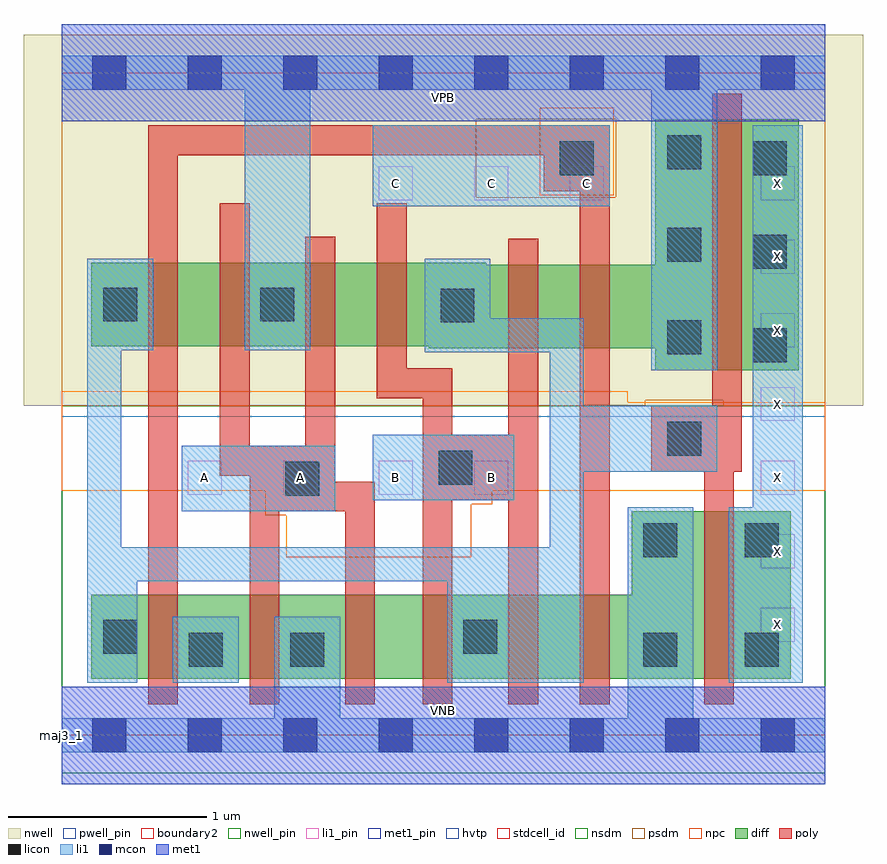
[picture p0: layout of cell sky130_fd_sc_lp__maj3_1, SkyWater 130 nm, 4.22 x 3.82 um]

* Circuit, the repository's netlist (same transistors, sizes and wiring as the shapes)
* Copyright 2020 The SkyWater PDK Authors
*
* Licensed under the Apache License, Version 2.0 (the "License");
* you may not use this file except in compliance with the License.
* You may obtain a copy of the License at
*
*     https://www.apache.org/licenses/LICENSE-2.0
*
* Unless required by applicable law or agreed to in writing, software
* distributed under the License is distributed on an "AS IS" BASIS,
* WITHOUT WARRANTIES OR CONDITIONS OF ANY KIND, either express or implied.
* See the License for the specific language governing permissions and
* limitations under the License.
*
* SPDX-License-Identifier: Apache-2.0

.SUBCKT sky130_fd_sc_lp__maj3_1 A B C VGND VNB VPB VPWR X
*.PININFO A:I B:I C:I VGND:I VNB:I VPB:I VPWR:I X:O
MMIN2 X y VGND VNB sky130_fd_pr__nfet_01v8 m=1 w=0.84U l=0.15U mult=1 sa=0.265
+ sb=0.265 sd=0.28 area=0.063 perim=1.14
MMN10 y B sndNBa VNB sky130_fd_pr__nfet_01v8 m=1 w=0.42U l=0.15U mult=1 sa=0.265
+ sb=0.265 sd=0.28 area=0.063 perim=1.14
MMN11 sndNBa A VGND VNB sky130_fd_pr__nfet_01v8 m=1 w=0.42U l=0.15U mult=1 sa=0.265
+ sb=0.265 sd=0.28 area=0.063 perim=1.14
MMN20 y B sndNBc VNB sky130_fd_pr__nfet_01v8 m=1 w=0.42U l=0.15U mult=1 sa=0.265
+ sb=0.265 sd=0.28 area=0.063 perim=1.14
MMN21 sndNBc C VGND VNB sky130_fd_pr__nfet_01v8 m=1 w=0.42U l=0.15U mult=1 sa=0.265
+ sb=0.265 sd=0.28 area=0.063 perim=1.14
MMN30 y C sndNCa VNB sky130_fd_pr__nfet_01v8 m=1 w=0.42U l=0.15U mult=1 sa=0.265
+ sb=0.265 sd=0.28 area=0.063 perim=1.14
MMN31 sndNCa A VGND VNB sky130_fd_pr__nfet_01v8 m=1 w=0.42U l=0.15U mult=1 sa=0.265
+ sb=0.265 sd=0.28 area=0.063 perim=1.14
MMIP2 X y VPWR VPB sky130_fd_pr__pfet_01v8_hvt m=1 w=1.26U l=0.15U mult=1 sa=0.265
+ sb=0.265 sd=0.28 area=0.063 perim=1.14
MMP10 VPWR A sndPAb VPB sky130_fd_pr__pfet_01v8_hvt m=1 w=0.42U l=0.15U mult=1
+ sa=0.265 sb=0.265 sd=0.28 area=0.063 perim=1.14
MMP11 sndPAb B y VPB sky130_fd_pr__pfet_01v8_hvt m=1 w=0.42U l=0.15U mult=1 sa=0.265
+ sb=0.265 sd=0.28 area=0.063 perim=1.14
MMP20 VPWR C sndPCb VPB sky130_fd_pr__pfet_01v8_hvt m=1 w=0.42U l=0.15U mult=1
+ sa=0.265 sb=0.265 sd=0.28 area=0.063 perim=1.14
MMP21 sndPCb B y VPB sky130_fd_pr__pfet_01v8_hvt m=1 w=0.42U l=0.15U mult=1 sa=0.265
+ sb=0.265 sd=0.28 area=0.063 perim=1.14
MMP30 VPWR A sndPAc VPB sky130_fd_pr__pfet_01v8_hvt m=1 w=0.42U l=0.15U mult=1
+ sa=0.265 sb=0.265 sd=0.28 area=0.063 perim=1.14
MMP31 sndPAc C y VPB sky130_fd_pr__pfet_01v8_hvt m=1 w=0.42U l=0.15U mult=1 sa=0.265
+ sb=0.265 sd=0.28 area=0.063 perim=1.14
.ENDS sky130_fd_sc_lp__maj3_1

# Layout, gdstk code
import gdstk
lib = gdstk.Library(unit=1e-6, precision=1e-09)
def R(c, l, rs):  # rectangles x0, y0, x1, y1
    for r in rs: c.add(gdstk.rectangle(r[:2], r[2:], *l))
def A(c, l, x, y, w, h, nx, ny, dx, dy):  # array of equal rectangles
    R(c, l, [(x+i*dx, y+j*dy, x+i*dx+w, y+j*dy+h) for i in range(nx) for j in range(ny)])
def P(c, l, *ps):  # polygons
    for p in ps: c.add(gdstk.Polygon(p, *l))
nwell_pin = (64, 16)
nwell = (64, 20)
diff = (65, 20)
poly = (66, 20)
licon = (66, 44)
li1_pin = (67, 16)
li1 = (67, 20)
mcon = (67, 44)
met1_pin = (68, 16)
met1 = (68, 20)
hvtp = (78, 44)
stdcell_id = (81, 4)
nsdm = (93, 44)
psdm = (94, 20)
npc = (95, 20)
pwell_pin = (122, 16)
boundary2 = (236, 0)

sky130_fd_sc_lp__maj3_1 = lib.new_cell('sky130_fd_sc_lp__maj3_1')
R(sky130_fd_sc_lp__maj3_1, nwell_pin, [(0,3.085,3.84,3.33)])
R(sky130_fd_sc_lp__maj3_1, nwell, [(-0.19,1.655,4.03,3.52)])
P(sky130_fd_sc_lp__maj3_1, diff, [(3.665,1.125),(2.865,1.125),(2.865,0.705),(0.15,0.705),(0.15,0.285),(3.665,0.285)],
  [(3.705,3.095),(2.985,3.095),(2.985,2.365),(2.135,2.365),(2.135,2.375),(0.15,2.375),(0.15,1.955),(1.845,1.955),(1.845,1.945),(2.985,1.945),(2.985,1.835),(3.705,1.835)])
P(sky130_fd_sc_lp__maj3_1, poly, [(1.575,1.275),(1.375,1.275),(1.375,2.505),(1.225,2.505),(1.225,1.455),(0.945,1.455),(0.945,2.675),(0.795,2.675),(0.795,1.305),(0.945,1.305),(0.945,0.155),(1.095,0.155),(1.095,1.125),(1.425,1.125),(1.425,0.155),(1.575,0.155)],
  [(2.395,2.495),(2.245,2.495),(2.245,1.51),(1.965,1.51),(1.965,1.845),(1.735,1.845),(1.735,2.675),(1.585,2.675),(1.585,1.695),(1.815,1.695),(1.815,0.155),(1.965,0.155),(1.965,1.18),(2.245,1.18),(2.245,0.155),(2.395,0.155)],
  [(2.755,3.065),(0.435,3.065),(0.435,0.155),(0.585,0.155),(0.585,2.915),(2.425,2.915),(2.425,2.735),(2.605,2.735),(2.605,0.155),(2.755,0.155)],
  [(3.42,3.225),(3.27,3.225),(3.27,1.655),(2.965,1.655),(2.965,1.325),(3.23,1.325),(3.23,0.155),(3.38,0.155),(3.38,1.325),(3.42,1.325)])
A(sky130_fd_sc_lp__maj3_1, licon, 3.475, 1.875, 0.17, 0.17, 1, 3, 0, 0.47)
A(sky130_fd_sc_lp__maj3_1, licon, 3.045, 1.915, 0.17, 0.17, 1, 3, 0, 0.465)
R(sky130_fd_sc_lp__maj3_1, licon, [(0.64,0.345,0.81,0.515), (1.15,0.345,1.32,0.515), (2.925,0.345,3.095,0.515), (3.435,0.345,3.605,0.515), (0.21,0.41,0.38,0.58), (2.02,0.41,2.19,0.58), (2.925,0.895,3.095,1.065), (3.435,0.895,3.605,1.065), (1.125,1.205,1.295,1.375), (1.895,1.26,2.065,1.43), (3.045,1.405,3.215,1.575), (1.905,2.075,2.075,2.245), (0.21,2.08,0.38,2.25), (1,2.08,1.17,2.25), (2.505,2.815,2.675,2.985)])
A(sky130_fd_sc_lp__maj3_1, li1_pin, 3.515, 0.47, 0.17, 0.17, 1, 7, 0, 0.37)
A(sky130_fd_sc_lp__maj3_1, li1_pin, 0.635, 1.21, 0.17, 0.17, 4, 1, 0.48, 0)
A(sky130_fd_sc_lp__maj3_1, li1_pin, 1.595, 2.69, 0.17, 0.17, 3, 1, 0.48, 0)
R(sky130_fd_sc_lp__maj3_1, li1, [(0.56,0.265,0.89,0.595), (0.605,1.125,1.375,1.455), (1.565,1.18,2.275,1.51), (1.565,2.66,2.755,3.065)])
P(sky130_fd_sc_lp__maj3_1, li1, [(0.92,1.935),(0.92,3.245),(0,3.245),(0,3.415),(3.84,3.415),(3.84,3.245),(3.295,3.245),(3.295,1.835),(2.965,1.835),(2.965,3.245),(1.25,3.245),(1.25,1.935)],
  [(1.07,0.085),(1.07,0.595),(1.4,0.595),(1.4,0.085),(2.845,0.085),(2.845,1.145),(3.175,1.145),(3.175,0.085),(3.84,0.085),(3.84,-0.085),(0,-0.085),(0,0.085)],
  [(0.3,1.935),(0.3,0.945),(2.455,0.945),(2.455,1.925),(1.825,1.925),(1.825,2.395),(2.155,2.395),(2.155,2.095),(2.625,2.095),(2.625,1.655),(3.295,1.655),(3.295,1.325),(2.625,1.325),(2.625,0.265),(1.94,0.265),(1.94,0.775),(0.38,0.775),(0.38,0.265),(0.13,0.265),(0.13,2.395),(0.46,2.395),(0.46,1.935)],
  [(3.475,1.145),(3.475,3.065),(3.725,3.065),(3.725,0.265),(3.355,0.265),(3.355,1.145)])
A(sky130_fd_sc_lp__maj3_1, mcon, 0.155, -0.085, 0.17, 0.17, 8, 2, 0.48, 3.33)
R(sky130_fd_sc_lp__maj3_1, met1_pin, [(0,0,3.84,0.245), (0,3.085,3.84,3.33)])
R(sky130_fd_sc_lp__maj3_1, met1, [(0,-0.245,3.84,0.245), (0,3.085,3.84,3.575)])
R(sky130_fd_sc_lp__maj3_1, hvtp, [(0,1.6,3.84,3.33)])
R(sky130_fd_sc_lp__maj3_1, stdcell_id, [(0,0,3.84,3.33)])
R(sky130_fd_sc_lp__maj3_1, nsdm, [(0,-0.19,3.84,1.655)])
P(sky130_fd_sc_lp__maj3_1, psdm, [(3.84,3.52),(2.785,3.52),(2.785,2.705),(2.085,2.705),(2.085,3.095),(2.785,3.095),(2.785,3.52),(0,3.52),(0,1.655),(2.935,1.655),(2.935,1.685),(3.325,1.685),(3.325,1.655),(3.84,1.655)])
R(sky130_fd_sc_lp__maj3_1, npc, [(2.405,2.715,2.775,3.155)])
P(sky130_fd_sc_lp__maj3_1, npc, [(3.84,1.675),(2.845,1.675),(2.845,1.73),(0,1.73),(0,1.23),(1.025,1.23),(1.025,1.105),(1.13,1.105),(1.13,0.895),(2.06,0.895),(2.06,1.16),(2.165,1.16),(2.165,1.23),(3.84,1.23)])
R(sky130_fd_sc_lp__maj3_1, pwell_pin, [(0,0,3.84,0.245)])
R(sky130_fd_sc_lp__maj3_1, boundary2, [(0,0,3.84,3.33)])
sky130_fd_sc_lp__maj3_1.add(gdstk.Label('VNB', (1.92,0.123), layer=64, texttype=59))
sky130_fd_sc_lp__maj3_1.add(gdstk.Label('VPB', (1.92,3.208), layer=64, texttype=5))
sky130_fd_sc_lp__maj3_1.add(gdstk.Label('maj3_1', (0,0), layer=83, texttype=44))
sky130_fd_sc_lp__maj3_1.add(gdstk.Label('VPWR', (1.92,3.208), layer=68, texttype=5))
sky130_fd_sc_lp__maj3_1.add(gdstk.Label('VGND', (1.92,0.123), layer=68, texttype=5))
sky130_fd_sc_lp__maj3_1.add(gdstk.Label('C', (1.68,2.775), layer=67, texttype=5))
sky130_fd_sc_lp__maj3_1.add(gdstk.Label('C', (2.16,2.775), layer=67, texttype=5))
sky130_fd_sc_lp__maj3_1.add(gdstk.Label('C', (2.64,2.775), layer=67, texttype=5))
sky130_fd_sc_lp__maj3_1.add(gdstk.Label('B', (1.68,1.295), layer=67, texttype=5))
sky130_fd_sc_lp__maj3_1.add(gdstk.Label('B', (2.16,1.295), layer=67, texttype=5))
sky130_fd_sc_lp__maj3_1.add(gdstk.Label('A', (0.72,1.295), layer=67, texttype=5))
sky130_fd_sc_lp__maj3_1.add(gdstk.Label('A', (1.2,1.295), layer=67, texttype=5))
sky130_fd_sc_lp__maj3_1.add(gdstk.Label('X', (3.6,0.555), layer=67, texttype=5))
sky130_fd_sc_lp__maj3_1.add(gdstk.Label('X', (3.6,0.925), layer=67, texttype=5))
sky130_fd_sc_lp__maj3_1.add(gdstk.Label('X', (3.6,1.295), layer=67, texttype=5))
sky130_fd_sc_lp__maj3_1.add(gdstk.Label('X', (3.6,1.665), layer=67, texttype=5))
sky130_fd_sc_lp__maj3_1.add(gdstk.Label('X', (3.6,2.035), layer=67, texttype=5))
sky130_fd_sc_lp__maj3_1.add(gdstk.Label('X', (3.6,2.405), layer=67, texttype=5))
sky130_fd_sc_lp__maj3_1.add(gdstk.Label('X', (3.6,2.775), layer=67, texttype=5))

lib.write_gds('sky130_fd_sc_lp__maj3_1.gds')
